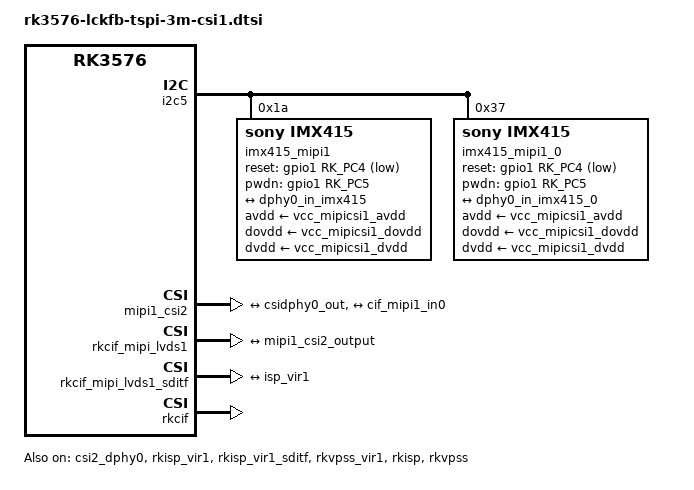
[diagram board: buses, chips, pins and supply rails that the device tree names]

/********************************************************************
 * SPDX-License-Identifier: (GPL-2.0+ OR MIT)
 * 
 * Copyright (c) 2023 Rockchip Electronics Co., Ltd.
 * Copyright (c) 2026 LCKFB <lckfb@sz-jlc.com>
 *********************************************************************
 * Wiki-(Chinese)：https://wiki.lckfb.com/
 * Wiki-(English)：https://wiki.lckfb.com/en/
 *********************************************************************/

/*-----------------------------------------------------------
 * Camera Power Enable
 *----------------------------------------------------------*/
&vcc_1v2_mipi_csi {
	status = "okay";
};

&vcc_1v8_mipi_csi {
    status = "okay";
};

&vcc_2v8_mipi_csi {
    status = "okay";
};

/*-----------------------------------------------------------
 * Camera Link Configuration
 *----------------------------------------------------------*/
&i2c5 {
	status = "okay";
	pinctrl-0 = <&i2c5m3_xfer>;

	imx415_mipi1: imx415@1a {
        status = "okay";
		compatible = "sony,imx415";
		reg = <0x1a>;
		clocks = <&cru CLK_MIPI_CAMERAOUT_M1>;
        pinctrl-0 = <&cam_clk1m0_clk1>;
		clock-names = "xvclk";
		pinctrl-names = "default";
		power-domains = <&power RK3576_PD_VI>;

		avdd-supply = <&vcc_mipicsi1_avdd>;
		dovdd-supply = <&vcc_mipicsi1_dovdd>;
		dvdd-supply = <&vcc_mipicsi1_dvdd>;

		reset-gpios = <&gpio1 RK_PC4 GPIO_ACTIVE_LOW>;
        pwdn-gpios = <&gpio1 RK_PC5 GPIO_ACTIVE_HIGH>;

		rockchip,camera-module-index = <0>;
		rockchip,camera-module-facing = "back";
		rockchip,camera-module-name = "CMK-OT2022-PX1";
		rockchip,camera-module-lens-name = "IR0147-50IRC-8M-F20";

		port {
			imx415_dphy0_out0: endpoint {
				remote-endpoint = <&dphy0_in_imx415>;
				data-lanes = <1 2 3 4>;
			};
		};
	};

	imx415_mipi1_0: imx415-0@37 {
        status = "okay";
		compatible = "sony,imx415";
		reg = <0x37>;
		clocks = <&cru CLK_MIPI_CAMERAOUT_M1>;
        pinctrl-0 = <&cam_clk1m0_clk1>;
		clock-names = "xvclk";
		pinctrl-names = "default";
		power-domains = <&power RK3576_PD_VI>;

		avdd-supply = <&vcc_mipicsi1_avdd>;
		dovdd-supply = <&vcc_mipicsi1_dovdd>;
		dvdd-supply = <&vcc_mipicsi1_dvdd>;

		reset-gpios = <&gpio1 RK_PC4 GPIO_ACTIVE_LOW>;
        pwdn-gpios = <&gpio1 RK_PC5 GPIO_ACTIVE_HIGH>;

		rockchip,camera-module-index = <0>;
		rockchip,camera-module-facing = "back";
		rockchip,camera-module-name = "CMK-OT2022-PX1";
		rockchip,camera-module-lens-name = "IR0147-50IRC-8M-F20";

		port {
			imx415_0_dphy0_out0: endpoint {
				remote-endpoint = <&dphy0_in_imx415_0>;
				data-lanes = <1 2 3 4>;
			};
		};
	};

    /* Can continue to write other cameras by referring to imx415 configuration */
};



&csi2_dphy0 {
	status = "okay";

	ports {
		#address-cells = <1>;
		#size-cells = <0>;
		port@0 {
			reg = <0>;
			#address-cells = <1>;
			#size-cells = <0>;

			dphy0_in_imx415: endpoint@1 {
				reg = <1>;
				remote-endpoint = <&imx415_dphy0_out0>;
				data-lanes = <1 2 3 4>;
			};
            
            dphy0_in_imx415_0: endpoint@2 {
                reg = <2>;
                remote-endpoint = <&imx415_0_dphy0_out0>;
                data-lanes = <1 2 3 4>;
            };

            /* Can continue to write other cameras by referring to imx415 configuration */
			
		};
		port@1 {
			reg = <1>;
			#address-cells = <1>;
			#size-cells = <0>;

			csidphy0_out: endpoint@0 {
				reg = <0>;
				remote-endpoint = <&mipi1_csi2_input>;
			};
		};
	};
};


&mipi1_csi2 {
	status = "okay";

	ports {
		#address-cells = <1>;
		#size-cells = <0>;

		port@0 {
			reg = <0>;
			#address-cells = <1>;
			#size-cells = <0>;

			mipi1_csi2_input: endpoint@1 {
				reg = <1>;
				remote-endpoint = <&csidphy0_out>;
			};
		};

		port@1 {
			reg = <1>;
			#address-cells = <1>;
			#size-cells = <0>;

			mipi1_csi2_output: endpoint@0 {
				reg = <0>;
				remote-endpoint = <&cif_mipi1_in0>;
			};
		};
	};
};

&rkcif_mipi_lvds1 {
	status = "okay";

	port {
		cif_mipi1_in0: endpoint {
			remote-endpoint = <&mipi1_csi2_output>;
		};
	};
};

&rkcif_mipi_lvds1_sditf {
	status = "okay";

	port {
		mipi1_lvds_sditf: endpoint {
			remote-endpoint = <&isp_vir1>;
		};
	};
};

&rkisp_vir1 {
	status = "okay";

	port {
		#address-cells = <1>;
		#size-cells = <0>;

		isp_vir1: endpoint@0 {
			reg = <0>;
			remote-endpoint = <&mipi1_lvds_sditf>;
		};
	};
};


/*-----------------------------------------------------------
 * MIPI-CSI-1 Link Virtual Interface Enable
 *----------------------------------------------------------*/
&rkisp_vir1_sditf {
	status = "okay";
};

&rkvpss_vir1 {
	status = "okay";
};

/*-----------------------------------------------------------
 * General Configuration
 *----------------------------------------------------------*/
&rkcif {
	status = "okay";
};

&rkcif_mmu {
	status = "okay";
};

&rkisp {
	status = "okay";
};

&rkisp_mmu {
	status = "okay";
};

&rkvpss {
	status = "okay";
};

&rkvpss_mmu {
	status = "okay";
};
